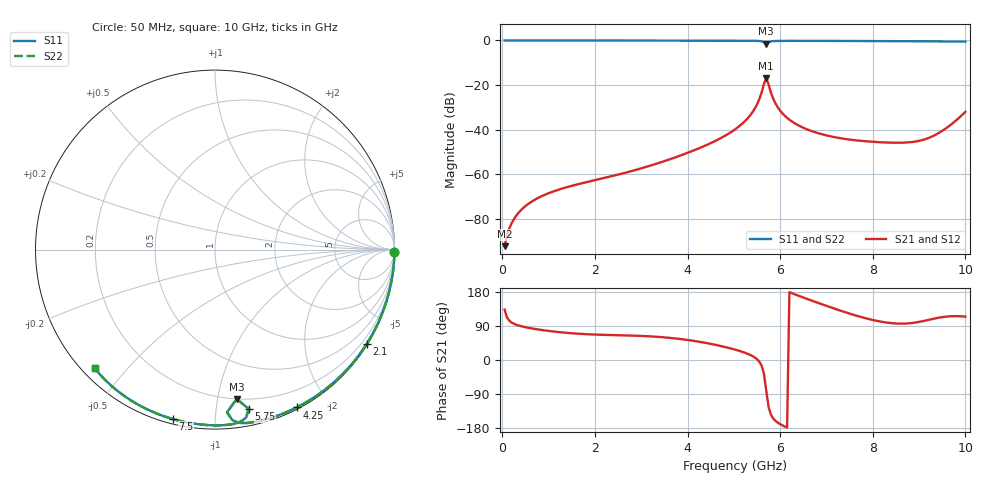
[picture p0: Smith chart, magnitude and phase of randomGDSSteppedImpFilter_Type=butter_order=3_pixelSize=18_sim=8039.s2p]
! freq	dB(S11)	phase(S11)	dB(S12)	phase(S12)
!  dB(S21)	phase(S21)	dB(S22)	phase(S22)
!S-par simulation data
#  GHz  S  DB  R 50
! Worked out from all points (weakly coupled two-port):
!   200 points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, 50 MHz to 10 GHz, reference 50 ohm
!   highest |S21| = -17.04 dB at 5.7 GHz (marker M1); lowest = -92.3 dB at 50 MHz (marker M2)
!   lowest |S11| = -1.5 dB at 5.7 GHz (marker M3), VSWR 11.55, Z = 10 - j56.7 ohm
!   |S11| at or under -10 dB: nowhere
!   |S22| runs from -1.5 to 0.0 dB; largest |S21 - S12| = 0
!   S11 on the Smith chart (normalised r, x): 50 MHz: open; 2.1 GHz: 0.03, -3.51; 4.25 GHz: 0.02, -1.64; 5.75 GHz: 0.12, -1.23; 7.5 GHz: 0.02, -0.78; 10 GHz: 0.04, -0.41
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0.05  -0.00 -0.8  -92.34 133.0  -92.34 133.0  -0.00 -0.8
0.25  -0.00 -3.9  -80.22 95.7  -80.22 95.7  -0.00 -3.9
0.5  -0.01 -7.7  -74.34 86.5  -74.34 86.5  -0.01 -7.7
0.85  -0.01 -13.0  -69.90 79.1  -69.90 79.1  -0.01 -13.0
1.75  -0.03 -26.6  -63.95 68.5  -63.95 68.5  -0.03 -26.6
2.1  -0.04 -31.8  -62.23 66.7  -62.23 66.7  -0.04 -31.8
3.4  -0.07 -50.7  -54.85 60.7  -54.85 60.7  -0.07 -50.7
4.25  -0.09 -62.7  -48.39 48.2  -48.39 48.2  -0.09 -62.7
5.05  -0.12 -73.8  -39.56 26.6  -39.56 26.6  -0.12 -73.8
5.45  -0.17 -80.2  -30.67 6.9  -30.67 6.9  -0.17 -80.2
5.6  -0.40 -84.2  -23.34 -15.0  -23.34 -15.0  -0.39 -84.2
5.7  -1.51 -81.8  -17.04 -81.4  -17.04 -81.4  -1.51 -81.8
5.75  -0.85 -78.0  -19.74 -124.1  -19.74 -124.1  -0.85 -78.1
5.9  -0.25 -82.1  -28.34 -160.7  -28.34 -160.7  -0.25 -82.1
6.05  -0.19 -84.9  -32.74 -172.6  -32.74 -172.6  -0.19 -84.9
6.35  -0.18 -89.3  -37.61 171.8  -37.61 171.8  -0.18 -89.3
6.7  -0.19 -93.9  -40.83 155.9  -40.83 155.9  -0.19 -93.9
7.5  -0.24 -104.0  -44.50 122.4  -44.50 122.4  -0.24 -104.0
8.35  -0.30 -114.3  -45.85 98.0  -45.85 98.0  -0.30 -114.3
9.2  -0.39 -124.7  -43.84 105.8  -43.84 105.8  -0.39 -124.7
9.6  -0.44 -129.8  -39.16 114.6  -39.16 114.6  -0.44 -129.8
10  -0.53 -135.4  -32.04 114.5  -32.04 114.5  -0.53 -135.4
